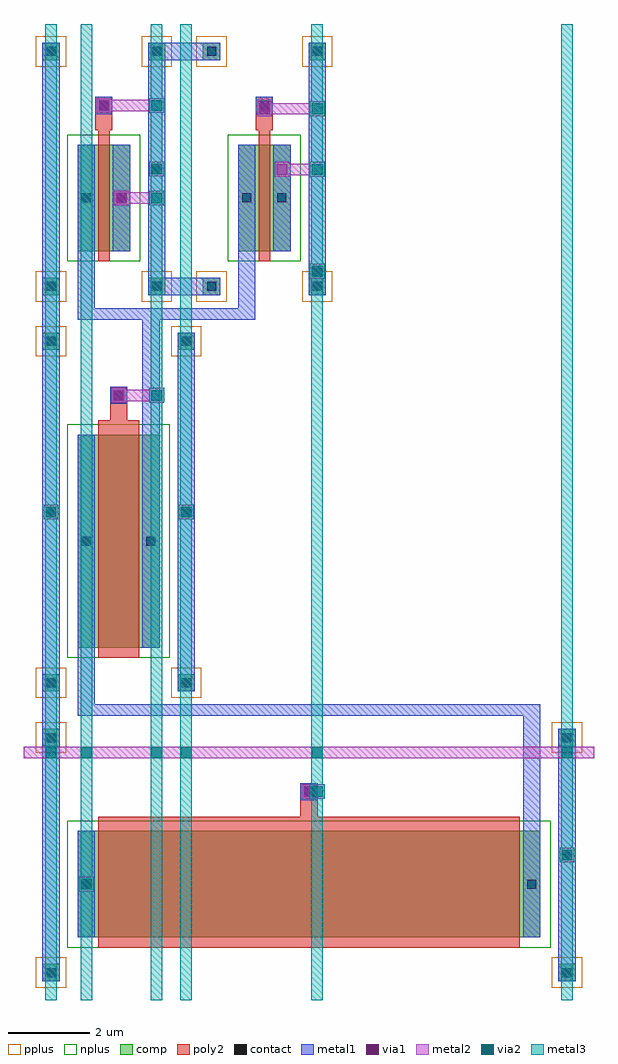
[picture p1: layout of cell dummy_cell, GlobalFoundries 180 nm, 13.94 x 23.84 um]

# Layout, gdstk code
import gdstk
lib = gdstk.Library(unit=1e-6, precision=5e-10)
def R(c, l, rs):  # rectangles x0, y0, x1, y1
    for r in rs: c.add(gdstk.rectangle(r[:2], r[2:], *l))
comp = (22, 0)
poly2 = (30, 0)
pplus = (31, 0)
nplus = (32, 0)
contact = (33, 0)
metal1 = (34, 0)
via1 = (35, 0)
metal2 = (36, 0)
via2 = (38, 0)
metal3 = (42, 0)

prim_cs = lib.new_cell('prim_cs')
R(prim_cs, comp, [(-0.86,-1.07,-0.44,-0.65), (11.74,-1.07,12.16,-0.65), (0,0,11.3,2.6), (-0.86,4.67,-0.44,5.09), (11.74,4.67,12.16,5.09)])
R(prim_cs, poly2, [(0.5,-0.25,10.8,2.6), (0.5,2.6,10.8,2.95), (5.44,2.95,5.86,3.77)])
R(prim_cs, pplus, [(-1.02,-1.23,-0.28,-0.49), (11.58,-1.23,12.32,-0.49), (-1.02,4.51,-0.28,5.25), (11.58,4.51,12.32,5.25)])
R(prim_cs, nplus, [(-0.25,-0.25,11.55,2.85)])
R(prim_cs, contact, [(-0.76,-0.97,-0.54,-0.75), (11.84,-0.97,12.06,-0.75), (0.1,1.19,0.32,1.41), (10.98,1.19,11.2,1.41), (5.54,3.45,5.76,3.67), (-0.76,4.77,-0.54,4.99), (11.84,4.77,12.06,4.99)])
R(prim_cs, metal1, [(-0.86,-1.07,-0.44,-0.65), (11.74,-1.07,12.16,-0.65), (0,0,0.42,2.6), (10.88,0,11.3,2.6), (5.44,3.35,5.86,3.77), (-0.86,4.67,-0.44,5.09), (11.74,4.67,12.16,5.09)])

prim_cas = lib.new_cell('prim_cas')
R(prim_cas, comp, [(-0.86,-1.07,-0.44,-0.65), (2.44,-1.07,2.86,-0.65), (0,0,2,5.2), (-0.86,7.27,-0.44,7.69), (2.44,7.27,2.86,7.69)])
R(prim_cas, poly2, [(0.5,-0.25,1.5,5.2), (0.5,5.2,1.5,5.55), (0.79,5.55,1.21,6.37)])
R(prim_cas, pplus, [(-1.02,-1.23,-0.28,-0.49), (2.28,-1.23,3.02,-0.49), (-1.02,7.11,-0.28,7.85), (2.28,7.11,3.02,7.85)])
R(prim_cas, nplus, [(-0.25,-0.25,2.25,5.45)])
R(prim_cas, contact, [(-0.76,-0.97,-0.54,-0.75), (2.54,-0.97,2.76,-0.75), (0.1,2.49,0.32,2.71), (1.68,2.49,1.9,2.71), (0.89,6.05,1.11,6.27), (-0.76,7.37,-0.54,7.59), (2.54,7.37,2.76,7.59)])
R(prim_cas, metal1, [(-0.86,-1.07,-0.44,-0.65), (2.44,-1.07,2.86,-0.65), (0,0,0.42,5.2), (1.58,0,2,5.2), (0.79,5.95,1.21,6.37), (-0.86,7.27,-0.44,7.69), (2.44,7.27,2.86,7.69)])

prim_sw = lib.new_cell('prim_sw')
R(prim_sw, comp, [(-0.86,-1.07,-0.44,-0.65), (1.72,-1.07,2.14,-0.65), (0,0,1.28,2.6), (-0.86,4.67,-0.44,5.09), (1.72,4.67,2.14,5.09)])
R(prim_sw, poly2, [(0.5,-0.25,0.78,2.6), (0.5,2.6,0.78,2.95), (0.43,2.95,0.85,3.77)])
R(prim_sw, pplus, [(-1.02,-1.23,-0.28,-0.49), (1.56,-1.23,2.3,-0.49), (-1.02,4.51,-0.28,5.25), (1.56,4.51,2.3,5.25)])
R(prim_sw, nplus, [(-0.25,-0.25,1.53,2.85)])
R(prim_sw, contact, [(-0.76,-0.97,-0.54,-0.75), (1.82,-0.97,2.04,-0.75), (0.1,1.19,0.32,1.41), (0.96,1.19,1.18,1.41), (0.53,3.45,0.75,3.67), (-0.76,4.77,-0.54,4.99), (1.82,4.77,2.04,4.99)])
R(prim_sw, metal1, [(-0.86,-1.07,-0.44,-0.65), (1.72,-1.07,2.14,-0.65), (0,0,0.42,2.6), (0.86,0,1.28,2.6), (0.43,3.35,0.85,3.77), (-0.86,4.67,-0.44,5.09), (1.72,4.67,2.14,5.09)])

dummy_cell = lib.new_cell('dummy_cell')
R(dummy_cell, metal1, [(0.16,0.16,0.58,23.08), (12.76,0.16,13.18,6.32), (11.9,3.83,12.32,6.92), (1.02,6.64,12.32,6.92), (1.02,6.64,1.44,8.31), (3.46,7.24,3.88,16), (2.6,13.51,3.02,16.6), (1.02,16.32,1.44,17.99), (1.02,16.32,5.36,16.6), (4.94,16.32,5.36,17.99), (2.74,16.92,3.16,23.08), (2.74,16.92,4.5,17.34), (6.66,16.92,7.08,23.08), (2.74,22.66,4.5,23.08)])
R(dummy_cell, via1, [(1.1,2.4,1.36,2.66), (12.84,3.11,13.1,3.37), (6.54,4.66,6.8,4.92), (0.24,11.49,0.5,11.75), (3.54,11.49,3.8,11.75), (1.89,14.34,2.15,14.6), (6.74,17.37,7,17.63), (1.96,19.16,2.22,19.42), (5.88,19.86,6.14,20.12), (2.82,19.87,3.08,20.13), (5.45,21.34,5.71,21.6), (1.53,21.42,1.79,21.68)])
R(dummy_cell, metal2, [(1.05,2.35,1.41,2.71), (12.79,3.06,13.15,3.42), (6.49,4.61,6.85,4.97), (6.69,4.61,7.05,4.97), (6.67,4.65,6.87,4.93), (-0.3,5.6,13.64,5.88), (0.19,11.44,0.55,11.8), (3.49,11.44,3.85,11.8), (1.84,14.29,2.2,14.65), (2.77,14.29,3.13,14.65), (2.02,14.33,2.95,14.61), (6.69,17.32,7.05,17.68), (1.91,19.11,2.27,19.47), (2.77,19.11,3.13,19.47), (2.09,19.15,2.95,19.43), (5.83,19.81,6.19,20.17), (6.69,19.81,7.05,20.17), (2.77,19.82,3.13,20.18), (6.01,19.85,6.87,20.13), (5.4,21.29,5.76,21.65), (6.69,21.29,7.05,21.65), (5.58,21.33,6.87,21.61), (1.48,21.37,1.84,21.73), (2.77,21.37,3.13,21.73), (1.66,21.41,2.95,21.69)])
R(dummy_cell, via2, [(1.1,2.4,1.36,2.66), (12.84,3.11,13.1,3.37), (6.74,4.66,7,4.92), (0.24,5.61,0.5,5.87), (1.1,5.61,1.36,5.87), (2.82,5.61,3.08,5.87), (3.54,5.61,3.8,5.87), (6.74,5.61,7,5.87), (12.84,5.61,13.1,5.87), (0.24,11.49,0.5,11.75), (3.54,11.49,3.8,11.75), (2.82,14.34,3.08,14.6), (6.74,17.37,7,17.63), (2.82,19.16,3.08,19.42), (6.74,19.86,7,20.12), (2.82,19.87,3.08,20.13), (6.74,21.34,7,21.6), (2.82,21.42,3.08,21.68)])
R(dummy_cell, metal3, [(0.23,-0.3,0.51,23.54), (1.09,-0.3,1.37,23.54), (2.81,-0.3,3.09,23.54), (3.53,-0.3,3.81,23.54), (6.73,-0.3,7.01,23.54), (12.83,-0.3,13.11,23.54), (1.05,2.35,1.41,2.71), (12.79,3.06,13.15,3.42), (6.69,4.61,7.05,4.97), (0.19,11.44,0.55,11.8), (3.49,11.44,3.85,11.8), (2.77,14.29,3.13,14.65), (6.69,17.32,7.05,17.68), (2.77,19.11,3.13,19.47), (6.69,19.81,7.05,20.17), (2.77,19.82,3.13,20.18), (6.69,21.29,7.05,21.65), (2.77,21.37,3.13,21.73)])
dummy_cell.add(gdstk.Reference(prim_cs, (1.02,1.23)))
dummy_cell.add(gdstk.Reference(prim_cas, (1.02,8.31)))
dummy_cell.add(gdstk.Reference(prim_sw, (1.02,17.99)))
dummy_cell.add(gdstk.Reference(prim_sw, (4.94,17.99)))

lib.write_gds('dummy_cell.gds')
